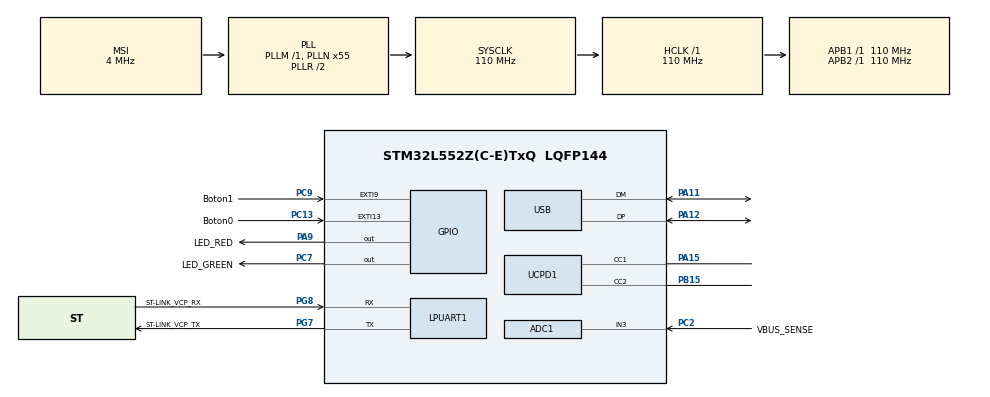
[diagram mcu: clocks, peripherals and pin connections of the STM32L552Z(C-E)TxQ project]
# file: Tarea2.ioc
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ADC1.Channel-0\#ChannelRegularConversion=ADC_CHANNEL_3
ADC1.NbrOfConversionFlag=1
ADC1.OffsetNumber-0\#ChannelRegularConversion=ADC_OFFSET_NONE
ADC1.Rank-0\#ChannelRegularConversion=1
ADC1.SamplingTime-0\#ChannelRegularConversion=ADC_SAMPLETIME_2CYCLES_5
ADC1.master=1
Mcu.Family=STM32L5
Mcu.Name=STM32L552Z(C-E)TxQ
Mcu.Package=LQFP144
Mcu.TrustZone=disable
NVIC.EXTI13_IRQn=true\:0\:0\:false\:false\:true\:true\:true\:true
NVIC.EXTI9_IRQn=true\:0\:0\:false\:false\:true\:true\:true\:true
NVIC.PriorityGroup=NVIC_PRIORITYGROUP_3
PA11.Mode=Device
PA11.Signal=USB_DM
PA12.Mode=Device
PA12.Signal=USB_DP
PA13\ (JTMS/SWDIO).Mode=Trace_Asynchronous_SW
PA13\ (JTMS/SWDIO).Signal=DEBUG_JTMS-SWDIO
PA14\ (JTCK/SWCLK).Mode=Trace_Asynchronous_SW
PA14\ (JTCK/SWCLK).Signal=DEBUG_JTCK-SWCLK
PA15\ (JTDI).Mode=Source_AllSignals
PA15\ (JTDI).Signal=UCPD1_CC1
PA9.GPIO_Label=LED_RED
PA9.Signal=GPIO_Output
PB15.Mode=Source_AllSignals
PB15.Signal=UCPD1_CC2
PB3\ (JTDO/TRACESWO).Mode=Trace_Asynchronous_SW
PB3\ (JTDO/TRACESWO).Signal=DEBUG_JTDO-SWO
PC13.GPIO_Label=Boton0
PC13.GPIO_ModeDefaultEXTI=GPIO_MODE_IT_FALLING
PC13.Privilege=EXTI_LINE_PRIV
PC13.Signal=GPXTI13
PC14-OSC32_IN\ (PC14).Mode=LSE-External-Oscillator
PC14-OSC32_IN\ (PC14).Signal=RCC_OSC32_IN
PC15-OSC32_OUT\ (PC15).Mode=LSE-External-Oscillator
PC15-OSC32_OUT\ (PC15).Signal=RCC_OSC32_OUT
PC2.GPIO_Label=VBUS_SENSE
PC2.Signal=ADCx_IN3
PC7.GPIO_Label=LED_GREEN
PC7.Signal=GPIO_Output
PC9.GPIO_Label=Boton1
PC9.GPIO_ModeDefaultEXTI=GPIO_MODE_IT_FALLING
PC9.GPIO_PuPd=GPIO_PULLDOWN
PC9.Privilege=EXTI_LINE_PRIV
PC9.Signal=GPXTI9
PG7.GPIO_Label=ST-LINK_VCP_TX
PG7.Mode=Asynchronous
PG7.Signal=LPUART1_TX
PG8.GPIO_Label=ST-LINK_VCP_RX
PG8.Mode=Asynchronous
PG8.Signal=LPUART1_RX
PH0-OSC_IN\ (PH0).Mode=HSE-External-Clock-Source
PH0-OSC_IN\ (PH0).Signal=RCC_OSC_IN
ProjectManager.HeapSize=0x200
ProjectManager.StackSize=0x400
ProjectManager.TargetToolchain=STM32CubeIDE
RCC.ADCCLockSelection=RCC_ADCCLKSOURCE_SYSCLK
RCC.ADCFreq_Value=110000000
RCC.AHBFreq_Value=110000000
RCC.APB1Freq_Value=110000000
RCC.APB1TimFreq_Value=110000000
RCC.APB2Freq_Value=110000000
RCC.APB2TimFreq_Value=110000000
RCC.CK48CLockSelection=RCC_USBCLKSOURCE_HSI48
RCC.CortexFreq_Value=110000000
RCC.HCLKFreq_Value=110000000
RCC.HSE_VALUE=8000000
RCC.HSI48_VALUE=48000000
RCC.HSI_VALUE=16000000
RCC.MSI_VALUE=4000000
RCC.PLLN=55
RCC.PLLSAI1N=24
RCC.RTCClockSelection=RCC_RTCCLKSOURCE_LSE
RCC.SYSCLKFreq_VALUE=110000000
RCC.SYSCLKSource=RCC_SYSCLKSOURCE_PLLCLK
RCC.USBFreq_Value=48000000
RCC.VCOOutputFreq_Value=220000000
SH.ADCx_IN3.0=ADC1_IN3,IN3-Single-Ended
VP_ICACHE_VS_ICACHE.Mode=DirectMappedCache
VP_PWR_VS_DBSignals.Mode=DisableDeadBatterySignals
VP_PWR_VS_SECSignals.Mode=Security/Privilege
VP_RTC_VS_RTC_Activate.Mode=RTC_Enabled
board=NUCLEO-L552ZE-Q

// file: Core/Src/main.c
/* USER CODE BEGIN Header */
/**
  ******************************************************************************
  * @file           : main.c
  * @brief          : Main program body
  ******************************************************************************
  * @attention
  *
  * Copyright (c) 2024 STMicroelectronics.
  * All rights reserved.
  *
  * This software is licensed under terms that can be found in the LICENSE file
  * in the root directory of this software component.
  * If no LICENSE file comes with this software, it is provided AS-IS.
  *
  ******************************************************************************
  */
/* USER CODE END Header */
#include "main.h"

/* USER CODE BEGIN Includes */
#include "stdio.h"
/* USER CODE END Includes */

ADC_HandleTypeDef hadc1;

UART_HandleTypeDef hlpuart1;

RTC_HandleTypeDef hrtc;

PCD_HandleTypeDef hpcd_USB_FS;

void SystemClock_Config(void);
static void MX_GPIO_Init(void);
static void MX_ADC1_Init(void);
static void MX_ICACHE_Init(void);
static void MX_LPUART1_UART_Init(void);
static void MX_RTC_Init(void);
static void MX_UCPD1_Init(void);
static void MX_USB_PCD_Init(void);

/* USER CODE BEGIN 0 */
enum State {
      STATE_S0,
	  STATE_S1,
	  STATE_S2,
	  STATE_S3
  };

  // Initialize the state machine with an initial state
 enum  State currentState = STATE_S0;

  void HAL_GPIO_EXTI_Falling_Callback(uint16_t GPIO_Pin)
  {
	  switch(currentState){
	  case STATE_S0:

		  if(GPIO_Pin == Boton1_Pin){
			  printf("Estado=S1\r\n");
			  HAL_GPIO_WritePin(LED_GREEN_GPIO_Port,LED_GREEN_Pin, GPIO_PIN_RESET);
			  HAL_GPIO_WritePin(LED_RED_GPIO_Port, LED_RED_Pin, GPIO_PIN_SET);
			  currentState=STATE_S1;
		  }

		  if(GPIO_Pin == Boton0_Pin){
			  printf("Estado=S3\r\n");
			  HAL_GPIO_WritePin(LED_GREEN_GPIO_Port,LED_GREEN_Pin, GPIO_PIN_RESET);
			  HAL_GPIO_WritePin(LED_RED_GPIO_Port, LED_RED_Pin, GPIO_PIN_RESET);
			  currentState=STATE_S3;
		  }
		  break;
	  case STATE_S1:

		  if(GPIO_Pin == Boton1_Pin){
			  printf("Estado=S2\r\n");
			  HAL_GPIO_WritePin(LED_GREEN_GPIO_Port,LED_GREEN_Pin, GPIO_PIN_SET);
			  HAL_GPIO_WritePin(LED_RED_GPIO_Port, LED_RED_Pin, GPIO_PIN_SET);
		  	 currentState=STATE_S2;
		  }

		  if(GPIO_Pin == Boton0_Pin){
			  printf("Estado=S0\r\n");
			  HAL_GPIO_WritePin(LED_GREEN_GPIO_Port,LED_GREEN_Pin, GPIO_PIN_SET);
			  HAL_GPIO_WritePin(LED_RED_GPIO_Port, LED_RED_Pin, GPIO_PIN_RESET);
		  	 currentState=STATE_S0;
		  }
		  	break;
	  case STATE_S2:

	  		  if(GPIO_Pin == Boton1_Pin){
	  			 printf("Estado=S3\r\n");
	  			HAL_GPIO_WritePin(LED_GREEN_GPIO_Port,LED_GREEN_Pin, GPIO_PIN_RESET);
	  		    HAL_GPIO_WritePin(LED_RED_GPIO_Port, LED_RED_Pin, GPIO_PIN_RESET);
	  		  	 currentState=STATE_S3;
	  		  }

	  		  if(GPIO_Pin == Boton0_Pin){
	  			 printf("Estado=S1\r\n");
	  			 HAL_GPIO_WritePin(LED_GREEN_GPIO_Port,LED_GREEN_Pin, GPIO_PIN_RESET);
	  			 HAL_GPIO_WritePin(LED_RED_GPIO_Port, LED_RED_Pin, GPIO_PIN_SET);
	  		  	 currentState=STATE_S1;
	  		  }
	  		  	break;
	  case STATE_S3:

	  	  if(GPIO_Pin == Boton1_Pin){
	  		 printf("Estado=S0\r\n");
	  		HAL_GPIO_WritePin(LED_GREEN_GPIO_Port,LED_GREEN_Pin, GPIO_PIN_SET);
	  	    HAL_GPIO_WritePin(LED_RED_GPIO_Port, LED_RED_Pin, GPIO_PIN_RESET);
	  	  		  	 currentState=STATE_S0;
	  	  		  }

	  	  if(GPIO_Pin == Boton0_Pin){
	  		 printf("Estado=S2\r\n");
	  		 HAL_GPIO_WritePin(LED_GREEN_GPIO_Port,LED_GREEN_Pin, GPIO_PIN_SET);
	  		 HAL_GPIO_WritePin(LED_RED_GPIO_Port, LED_RED_Pin, GPIO_PIN_SET);
	  	  		  	 currentState=STATE_S2;

	  	  		  }
	  	  		  	break;

	  default:
		  currentState=STATE_S0;
		  break;
	  }
  }
/* USER CODE END 0 */

int main(void)
{

  /* MCU Configuration--------------------------------------------------------*/

  /* Reset of all peripherals, Initializes the Flash interface and the Systick. */
  HAL_Init();

  /* Configure the system clock */
  SystemClock_Config();

  /* Initialize all configured peripherals */
  MX_GPIO_Init();
  MX_ADC1_Init();
  MX_ICACHE_Init();
  MX_LPUART1_UART_Init();
  MX_RTC_Init();
  MX_UCPD1_Init();
  MX_USB_PCD_Init();

  /* Infinite loop */
  while (1)
  {

  }
}

void SystemClock_Config(void)
{
  RCC_OscInitTypeDef RCC_OscInitStruct = {0};
  RCC_ClkInitTypeDef RCC_ClkInitStruct = {0};

  /** Configure the main internal regulator output voltage
  */
  if (HAL_PWREx_ControlVoltageScaling(PWR_REGULATOR_VOLTAGE_SCALE0) != HAL_OK)
  {
    Error_Handler();
  }

  /** Configure LSE Drive Capability
  */
  HAL_PWR_EnableBkUpAccess();
  __HAL_RCC_LSEDRIVE_CONFIG(RCC_LSEDRIVE_LOW);

  /** Initializes the RCC Oscillators according to the specified parameters
  * in the RCC_OscInitTypeDef structure.
  */
  RCC_OscInitStruct.OscillatorType = RCC_OSCILLATORTYPE_HSI48|RCC_OSCILLATORTYPE_HSI
                              |RCC_OSCILLATORTYPE_LSE|RCC_OSCILLATORTYPE_MSI;
  RCC_OscInitStruct.LSEState = RCC_LSE_ON;
  RCC_OscInitStruct.HSIState = RCC_HSI_ON;
  RCC_OscInitStruct.HSI48State = RCC_HSI48_ON;
  RCC_OscInitStruct.HSICalibrationValue = RCC_HSICALIBRATION_DEFAULT;
  RCC_OscInitStruct.MSIState = RCC_MSI_ON;
  RCC_OscInitStruct.MSICalibrationValue = RCC_MSICALIBRATION_DEFAULT;
  RCC_OscInitStruct.MSIClockRange = RCC_MSIRANGE_6;
  RCC_OscInitStruct.PLL.PLLState = RCC_PLL_ON;
  RCC_OscInitStruct.PLL.PLLSource = RCC_PLLSOURCE_MSI;
  RCC_OscInitStruct.PLL.PLLM = 1;
  RCC_OscInitStruct.PLL.PLLN = 55;
  RCC_OscInitStruct.PLL.PLLP = RCC_PLLP_DIV7;
  RCC_OscInitStruct.PLL.PLLQ = RCC_PLLQ_DIV2;
  RCC_OscInitStruct.PLL.PLLR = RCC_PLLR_DIV2;
  if (HAL_RCC_OscConfig(&RCC_OscInitStruct) != HAL_OK)
  {
    Error_Handler();
  }

  /** Initializes the CPU, AHB and APB buses clocks
  */
  RCC_ClkInitStruct.ClockType = RCC_CLOCKTYPE_HCLK|RCC_CLOCKTYPE_SYSCLK
                              |RCC_CLOCKTYPE_PCLK1|RCC_CLOCKTYPE_PCLK2;
  RCC_ClkInitStruct.SYSCLKSource = RCC_SYSCLKSOURCE_PLLCLK;
  RCC_ClkInitStruct.AHBCLKDivider = RCC_SYSCLK_DIV1;
  RCC_ClkInitStruct.APB1CLKDivider = RCC_HCLK_DIV1;
  RCC_ClkInitStruct.APB2CLKDivider = RCC_HCLK_DIV1;

  if (HAL_RCC_ClockConfig(&RCC_ClkInitStruct, FLASH_LATENCY_5) != HAL_OK)
  {
    Error_Handler();
  }
}

static void MX_ADC1_Init(void)
{

  ADC_MultiModeTypeDef multimode = {0};
  ADC_ChannelConfTypeDef sConfig = {0};

  /** Common config
  */
  hadc1.Instance = ADC1;
  hadc1.Init.ClockPrescaler = ADC_CLOCK_ASYNC_DIV1;
  hadc1.Init.Resolution = ADC_RESOLUTION_12B;
  hadc1.Init.DataAlign = ADC_DATAALIGN_RIGHT;
  hadc1.Init.ScanConvMode = ADC_SCAN_DISABLE;
  hadc1.Init.EOCSelection = ADC_EOC_SINGLE_CONV;
  hadc1.Init.LowPowerAutoWait = DISABLE;
  hadc1.Init.ContinuousConvMode = DISABLE;
  hadc1.Init.NbrOfConversion = 1;
  hadc1.Init.DiscontinuousConvMode = DISABLE;
  hadc1.Init.ExternalTrigConv = ADC_SOFTWARE_START;
  hadc1.Init.ExternalTrigConvEdge = ADC_EXTERNALTRIGCONVEDGE_NONE;
  hadc1.Init.DMAContinuousRequests = DISABLE;
  hadc1.Init.Overrun = ADC_OVR_DATA_PRESERVED;
  hadc1.Init.OversamplingMode = DISABLE;
  if (HAL_ADC_Init(&hadc1) != HAL_OK)
  {
    Error_Handler();
  }

  /** Configure the ADC multi-mode
  */
  multimode.Mode = ADC_MODE_INDEPENDENT;
  if (HAL_ADCEx_MultiModeConfigChannel(&hadc1, &multimode) != HAL_OK)
  {
    Error_Handler();
  }

  /** Configure Regular Channel
  */
  sConfig.Channel = ADC_CHANNEL_3;
  sConfig.Rank = ADC_REGULAR_RANK_1;
  sConfig.SamplingTime = ADC_SAMPLETIME_2CYCLES_5;
  sConfig.SingleDiff = ADC_SINGLE_ENDED;
  sConfig.OffsetNumber = ADC_OFFSET_NONE;
  sConfig.Offset = 0;
  if (HAL_ADC_ConfigChannel(&hadc1, &sConfig) != HAL_OK)
  {
    Error_Handler();
  }

}

static void MX_ICACHE_Init(void)
{

  /** Enable instruction cache in 1-way (direct mapped cache)
  */
  if (HAL_ICACHE_ConfigAssociativityMode(ICACHE_1WAY) != HAL_OK)
  {
    Error_Handler();
  }
  if (HAL_ICACHE_Enable() != HAL_OK)
  {
    Error_Handler();
  }

}

static void MX_LPUART1_UART_Init(void)
{

  hlpuart1.Instance = LPUART1;
  hlpuart1.Init.BaudRate = 209700;
  hlpuart1.Init.WordLength = UART_WORDLENGTH_8B;
  hlpuart1.Init.StopBits = UART_STOPBITS_1;
  hlpuart1.Init.Parity = UART_PARITY_NONE;
  hlpuart1.Init.Mode = UART_MODE_TX_RX;
  hlpuart1.Init.HwFlowCtl = UART_HWCONTROL_NONE;
  hlpuart1.Init.OneBitSampling = UART_ONE_BIT_SAMPLE_DISABLE;
  hlpuart1.Init.ClockPrescaler = UART_PRESCALER_DIV1;
  hlpuart1.AdvancedInit.AdvFeatureInit = UART_ADVFEATURE_NO_INIT;
  hlpuart1.FifoMode = UART_FIFOMODE_DISABLE;
  if (HAL_UART_Init(&hlpuart1) != HAL_OK)
  {
    Error_Handler();
  }
  if (HAL_UARTEx_SetTxFifoThreshold(&hlpuart1, UART_TXFIFO_THRESHOLD_1_8) != HAL_OK)
  {
    Error_Handler();
  }
  if (HAL_UARTEx_SetRxFifoThreshold(&hlpuart1, UART_RXFIFO_THRESHOLD_1_8) != HAL_OK)
  {
    Error_Handler();
  }
  if (HAL_UARTEx_DisableFifoMode(&hlpuart1) != HAL_OK)
  {
    Error_Handler();
  }

}

static void MX_RTC_Init(void)
{

  RTC_PrivilegeStateTypeDef privilegeState = {0};

  /** Initialize RTC Only
  */
  hrtc.Instance = RTC;
  hrtc.Init.HourFormat = RTC_HOURFORMAT_24;
  hrtc.Init.AsynchPrediv = 127;
  hrtc.Init.SynchPrediv = 255;
  hrtc.Init.OutPut = RTC_OUTPUT_DISABLE;
  hrtc.Init.OutPutRemap = RTC_OUTPUT_REMAP_NONE;
  hrtc.Init.OutPutPolarity = RTC_OUTPUT_POLARITY_HIGH;
  hrtc.Init.OutPutType = RTC_OUTPUT_TYPE_OPENDRAIN;
  hrtc.Init.OutPutPullUp = RTC_OUTPUT_PULLUP_NONE;
  if (HAL_RTC_Init(&hrtc) != HAL_OK)
  {
    Error_Handler();
  }
  privilegeState.rtcPrivilegeFull = RTC_PRIVILEGE_FULL_NO;
  privilegeState.backupRegisterPrivZone = RTC_PRIVILEGE_BKUP_ZONE_NONE;
  privilegeState.backupRegisterStartZone2 = RTC_BKP_DR0;
  privilegeState.backupRegisterStartZone3 = RTC_BKP_DR0;
  if (HAL_RTCEx_PrivilegeModeSet(&hrtc, &privilegeState) != HAL_OK)
  {
    Error_Handler();
  }

}

static void MX_UCPD1_Init(void)
{

  LL_GPIO_InitTypeDef GPIO_InitStruct = {0};

  /* Peripheral clock enable */
  LL_APB1_GRP2_EnableClock(LL_APB1_GRP2_PERIPH_UCPD1);

  LL_AHB2_GRP1_EnableClock(LL_AHB2_GRP1_PERIPH_GPIOB);
  LL_AHB2_GRP1_EnableClock(LL_AHB2_GRP1_PERIPH_GPIOA);
  /**UCPD1 GPIO Configuration
  PB15   ------> UCPD1_CC2
  PA15 (JTDI)   ------> UCPD1_CC1
  */
  GPIO_InitStruct.Pin = LL_GPIO_PIN_15;
  GPIO_InitStruct.Mode = LL_GPIO_MODE_ANALOG;
  GPIO_InitStruct.Pull = LL_GPIO_PULL_NO;
  LL_GPIO_Init(GPIOB, &GPIO_InitStruct);

  GPIO_InitStruct.Pin = LL_GPIO_PIN_15;
  GPIO_InitStruct.Mode = LL_GPIO_MODE_ANALOG;
  GPIO_InitStruct.Pull = LL_GPIO_PULL_NO;
  LL_GPIO_Init(GPIOA, &GPIO_InitStruct);

}

static void MX_USB_PCD_Init(void)
{

  hpcd_USB_FS.Instance = USB;
  hpcd_USB_FS.Init.dev_endpoints = 8;
  hpcd_USB_FS.Init.speed = PCD_SPEED_FULL;
  hpcd_USB_FS.Init.phy_itface = PCD_PHY_EMBEDDED;
  hpcd_USB_FS.Init.Sof_enable = DISABLE;
  hpcd_USB_FS.Init.low_power_enable = DISABLE;
  hpcd_USB_FS.Init.lpm_enable = DISABLE;
  hpcd_USB_FS.Init.battery_charging_enable = DISABLE;
  if (HAL_PCD_Init(&hpcd_USB_FS) != HAL_OK)
  {
    Error_Handler();
  }

}

static void MX_GPIO_Init(void)
{
  GPIO_InitTypeDef GPIO_InitStruct = {0};

  /* GPIO Ports Clock Enable */
  __HAL_RCC_GPIOC_CLK_ENABLE();
  __HAL_RCC_GPIOH_CLK_ENABLE();
  __HAL_RCC_GPIOB_CLK_ENABLE();
  __HAL_RCC_GPIOG_CLK_ENABLE();
  HAL_PWREx_EnableVddIO2();
  __HAL_RCC_GPIOA_CLK_ENABLE();

  /*Configure GPIO pin Output Level */
  HAL_GPIO_WritePin(LED_GREEN_GPIO_Port, LED_GREEN_Pin, GPIO_PIN_RESET);

  /*Configure GPIO pin Output Level */
  HAL_GPIO_WritePin(LED_RED_GPIO_Port, LED_RED_Pin, GPIO_PIN_RESET);

  /*Configure the EXTI line attribute */
  HAL_EXTI_ConfigLineAttributes(EXTI_LINE_13, EXTI_LINE_PRIV);

  /*Configure the EXTI line attribute */
  HAL_EXTI_ConfigLineAttributes(EXTI_LINE_9, EXTI_LINE_PRIV);

  /*Configure GPIO pin : Boton0_Pin */
  GPIO_InitStruct.Pin = Boton0_Pin;
  GPIO_InitStruct.Mode = GPIO_MODE_IT_FALLING;
  GPIO_InitStruct.Pull = GPIO_NOPULL;
  HAL_GPIO_Init(Boton0_GPIO_Port, &GPIO_InitStruct);

  /*Configure GPIO pin : LED_GREEN_Pin */
  GPIO_InitStruct.Pin = LED_GREEN_Pin;
  GPIO_InitStruct.Mode = GPIO_MODE_OUTPUT_PP;
  GPIO_InitStruct.Pull = GPIO_NOPULL;
  GPIO_InitStruct.Speed = GPIO_SPEED_FREQ_LOW;
  HAL_GPIO_Init(LED_GREEN_GPIO_Port, &GPIO_InitStruct);

  /*Configure GPIO pin : Boton1_Pin */
  GPIO_InitStruct.Pin = Boton1_Pin;
  GPIO_InitStruct.Mode = GPIO_MODE_IT_FALLING;
  GPIO_InitStruct.Pull = GPIO_PULLDOWN;
  HAL_GPIO_Init(Boton1_GPIO_Port, &GPIO_InitStruct);

  /*Configure GPIO pin : LED_RED_Pin */
  GPIO_InitStruct.Pin = LED_RED_Pin;
  GPIO_InitStruct.Mode = GPIO_MODE_OUTPUT_PP;
  GPIO_InitStruct.Pull = GPIO_NOPULL;
  GPIO_InitStruct.Speed = GPIO_SPEED_FREQ_LOW;
  HAL_GPIO_Init(LED_RED_GPIO_Port, &GPIO_InitStruct);

  /* EXTI interrupt init*/
  HAL_NVIC_SetPriority(EXTI9_IRQn, 0, 0);
  HAL_NVIC_EnableIRQ(EXTI9_IRQn);

  HAL_NVIC_SetPriority(EXTI13_IRQn, 0, 0);
  HAL_NVIC_EnableIRQ(EXTI13_IRQn);

}

/* USER CODE BEGIN 4 */
int _write(int file,char *ptr,int len){
	int DataIdx;

	for(DataIdx=0;DataIdx<len;DataIdx++){
		ITM_SendChar(*ptr++);
	}
	return len;
}
/* USER CODE END 4 */

void Error_Handler(void)
{
  __disable_irq();
  while (1)
  {
  }
}
